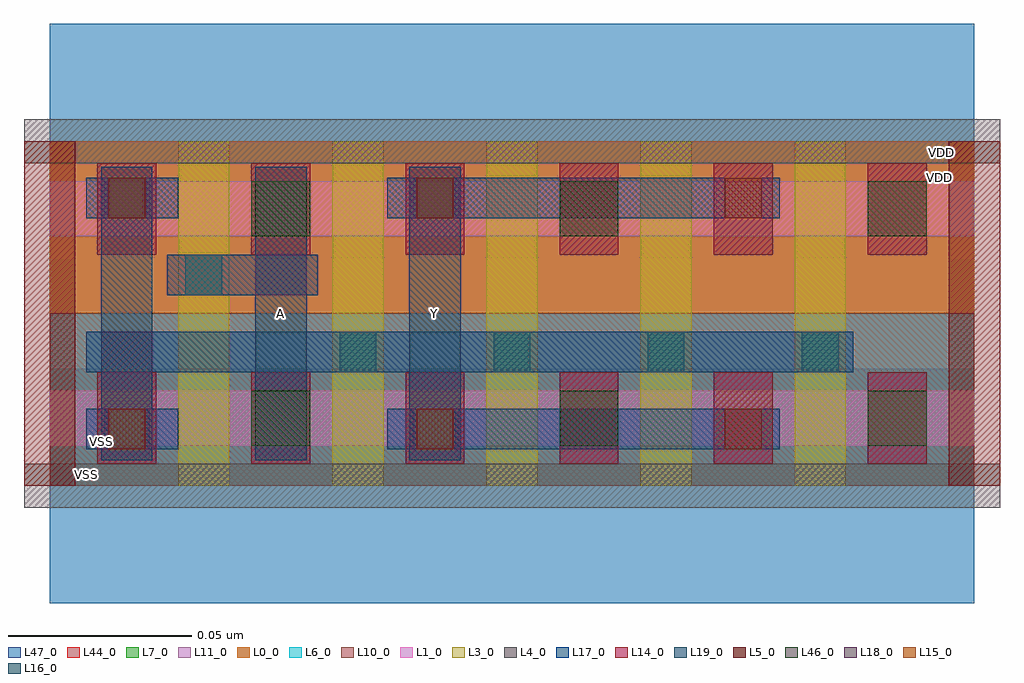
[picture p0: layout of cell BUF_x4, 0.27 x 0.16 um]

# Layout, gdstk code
import gdstk
lib = gdstk.Library(unit=1e-6, precision=5e-10)
def R(c, l, rs):  # rectangles x0, y0, x1, y1
    for r in rs: c.add(gdstk.rectangle(r[:2], r[2:], *l))
def A(c, l, x, y, w, h, nx, ny, dx, dy):  # array of equal rectangles
    R(c, l, [(x+i*dx, y+j*dy, x+i*dx+w, y+j*dy+h) for i in range(nx) for j in range(ny)])
L0_0 = (0, 0)
L1_0 = (1, 0)
L3_0 = (3, 0)
L4_0 = (4, 0)
L5_0 = (5, 0)
L6_0 = (6, 0)
L7_0 = (7, 0)
L10_0 = (10, 0)
L11_0 = (11, 0)
L14_0 = (14, 0)
L15_0 = (15, 0)
L16_0 = (16, 0)
L17_0 = (17, 0)
L18_0 = (18, 0)
L19_0 = (19, 0)
L44_0 = (44, 0)
L46_0 = (46, 0)
L47_0 = (47, 0)

buf_x4 = lib.new_cell('BUF_x4')
R(buf_x4, L0_0, [(0,0.047,0.252,0.094)])
R(buf_x4, L1_0, [(0,0.011,0.252,0.026), (0,0.068,0.252,0.083)])
A(buf_x4, L3_0, 0.035, 0, 0.014, 0.094, 5, 1, 0.042, 0)
R(buf_x4, L4_0, [(-0.007,-0.006,0.259,0.006), (-0.007,0.088,0.259,0.1)])
R(buf_x4, L5_0, [(-0.007,0,0.007,0.094), (0.245,0,0.259,0.094)])
R(buf_x4, L6_0, [(0,0,0.252,0.047)])
R(buf_x4, L7_0, [(0,0.047,0.252,0.094)])
R(buf_x4, L10_0, [(0,0,0.252,0.047)])
R(buf_x4, L11_0, [(0,0.047,0.252,0.094)])
A(buf_x4, L14_0, 0.013, 0.006, 0.016, 0.025, 6, 2, 0.042, 0.057)
A(buf_x4, L15_0, 0.016, 0.01, 0.01, 0.011, 3, 2, 0.084, 0.063)
A(buf_x4, L16_0, 0.079, 0.031, 0.01, 0.011, 4, 1, 0.042, 0)
R(buf_x4, L16_0, [(0.037,0.052,0.047,0.063)])
R(buf_x4, L17_0, [(0.01,0.01,0.035,0.021), (0.092,0.01,0.199,0.021), (0.01,0.031,0.219,0.042), (0.032,0.052,0.073,0.063), (0.01,0.073,0.035,0.084), (0.092,0.073,0.199,0.084)])
R(buf_x4, L18_0, [(0.014,0.01,0.028,0.021), (0.098,0.01,0.112,0.021), (0.014,0.031,0.028,0.042), (0.056,0.052,0.07,0.063), (0.014,0.073,0.028,0.084), (0.098,0.073,0.112,0.084)])
A(buf_x4, L19_0, 0.014, 0.007, 0.014, 0.08, 3, 1, 0.042, 0)
R(buf_x4, L44_0, [(0,0,0.252,0.094)])
A(buf_x4, L46_0, 0.055, 0.011, 0.016, 0.015, 3, 2, 0.084, 0.057)
R(buf_x4, L47_0, [(0,-0.032,0.252,0.032), (0,0.062,0.252,0.126)])
buf_x4.add(gdstk.Label('VSS', (0.01,0.003), layer=54, texttype=2))
buf_x4.add(gdstk.Label('Y', (0.105,0.047), layer=19, texttype=2))
buf_x4.add(gdstk.Label('A', (0.063,0.047), layer=19, texttype=2))
buf_x4.add(gdstk.Label('VDD', (0.243,0.091), layer=0, texttype=2))
buf_x4.add(gdstk.Label('VSS', (0.014,0.012), layer=47, texttype=2))
buf_x4.add(gdstk.Label('VDD', (0.2425,0.084), layer=47, texttype=2))

lib.write_gds('BUF_x4.gds')
